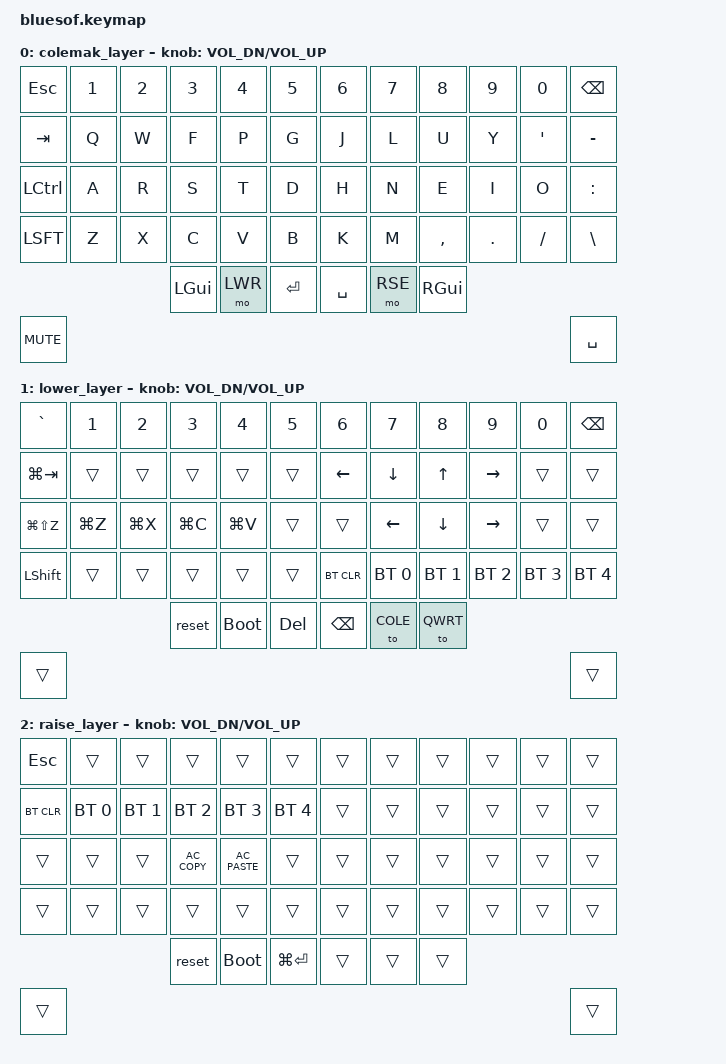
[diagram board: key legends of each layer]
/*
 * Copyright (c) 2020 Eric Lau
 *
 * SPDX-License-Identifier: MIT
 */

#include <behaviors.dtsi>
#include <dt-bindings/zmk/keys.h>
#include <dt-bindings/zmk/bt.h>

#define COLE 0
#define LWR 1
#define RSE 2
#define QWRT 3


/ {
        keymap {
                compatible = "zmk,keymap";


        colemak_layer {
// -----------------------------------------------------------------------------------------
// |  GRAV|  1  |  2  |  3  |  4  |  5  |      |  6  |  7  |  8   |  9  |  O  | BKSP |
// |  TAB |  Q  |  W  |  F  |  P  |  G  |      |  J  |  L   |  U  |  Y  |  '  | BKSP |
// | CTRL |  A  |  R  |  S  |  T  |  D  |      |  H  |  N   |  E  |  I  |  O  |  "   |
// | SHFT |  Z  |  X  |  C  |  V  |  B  |      |  K  |  M   |  ,  |  .  |  /  | SHFT |
//        |  ^  | ALT | GUI | LWR | SPC |      | ENT | RSE  | GUI | ALT |  ^  |
// | LEFT ENCODER |                                                  | RIGHT ENCODER |
                        bindings = <
   &kp ESCAPE &kp NUM_1 &kp NUM_2 &kp NUM_3 &kp NUM_4 &kp NUM_5       &kp NUM_6 &kp NUM_7  &kp NUM_8  &kp NUM_9   &kp NUM_0  &kp BKSP
   &kp TAB    &kp Q     &kp W     &kp F     &kp P     &kp G           &kp J     &kp L      &kp U      &kp Y       &kp SINGLE_QUOTE &kp MINUS
   &kp LCTL   &kp A     &kp R     &kp S     &kp T     &kp D           &kp H     &kp N      &kp E      &kp I       &kp O   &kp COLON
   &kp LSFT   &kp Z     &kp X     &kp C     &kp V     &kp B           &kp K     &kp M      &kp CMMA   &kp DOT     &kp FSLH   &kp BSLH
                                  &kp LGUI  &mo LWR   &kp RET         &kp SPC   &mo RSE    &kp RGUI    
   &kp C_MUTE                                                                                                              &kp SPC
                        >;

			// sensor-bindings = <&inc_dec_kp C_VOL_UP C_VOL_DN &inc_dec_kp PG_UP PG_DN>;
			sensor-bindings = <&inc_dec_kp C_VOL_DN C_VOL_UP>;
                };
                
                lower_layer {
// -----------------------------------------------------------------------------------------
// TODO TODO TODO - Clean up this comment and make better keymap
// |  ESC |  1  |  2  |  3  |  4  |  5  |   |  6  |  7  |  8  |  9  |  0  | BKSP |
// | BTCLR| BT1 | BT2 | BT3 | BT4 | BT5 |   | LFT | DWN |  UP | RGT |     |      |
// | SHFT |     |     |     |     |     |   |     |     |     |     |     |      |
//                    | GUI |     | SPC |   | ENT |     | ALT |
                        bindings = <
   &kp GRAVE     &kp NUM_1    &kp NUM_2    &kp NUM_3    &kp NUM_4        &kp NUM_5         &kp NUM_6 &kp NUM_7 &kp NUM_8 &kp NUM_9 &kp NUM_0 &kp BKSP
   &kp LG(TAB)   &trans       &trans       &trans       &trans           &trans            &kp LEFT  &kp DOWN  &kp UP    &kp RIGHT &trans    &trans
   &kp LG(LS(Z)) &kp LG(Z)    &kp LG(X)    &kp LG(C)    &kp LG(V)        &trans            &trans    &kp LEFT  &kp DOWN  &kp RIGHT &trans    &trans
   &kp LSHFT     &trans       &trans       &trans       &trans           &trans            &bt BT_CLR &bt BT_SEL 0 &bt BT_SEL 1 &bt BT_SEL 2 &bt BT_SEL 3 &bt BT_SEL 4 
                                           &reset       &bootloader      &kp DEL           &kp BKSP  &to COLE  &to QWRT   
   &trans                                                                                                                             &trans
                        >;
                   	
                        // sensor-bindings = <&inc_dec_kp C_VOL_UP C_VOL_DN &inc_dec_kp PG_UP PG_DN>;
			sensor-bindings = <&inc_dec_kp C_VOL_DN C_VOL_UP>;
                };

                raise_layer {
// -----------------------------------------------------------------------------------------
// TODO TODO TODO - Clean up this comment and make better keymap
// |  ESC |  1  |  2  |  3  |  4  |  5  |   |  6  |  7  |  8  |  9  |  0  | BKSP |
// | BTCLR| BT1 | BT2 | BT3 | BT4 | BT5 |   | LFT | DWN |  UP | RGT |     |      |
// | SHFT |     |     |     |     |     |   |     |     |     |     |     |      |
//                    | GUI |     | SPC |   | ENT |     | ALT |
                        bindings = <
   &kp ESC    &trans       &trans       &trans       &trans       &trans              &trans    &trans    &trans    &trans    &trans    &trans
   &bt BT_CLR &bt BT_SEL 0 &bt BT_SEL 1 &bt BT_SEL 2 &bt BT_SEL 3 &bt BT_SEL 4       &trans    &trans    &trans    &trans    &trans    &trans
   &trans     &trans       &trans       &kp C_AC_COPY &kp C_AC_PASTE &trans            &trans    &trans    &trans    &trans    &trans    &trans
   &trans     &trans       &trans       &trans       &trans       &trans               &trans    &trans    &trans    &trans    &trans    &trans
                                        &reset       &bootloader  &kp LG(RET)           &trans    &trans    &trans   
   &trans                                                                                                                             &trans
                        >;
                   	
                        // sensor-bindings = <&inc_dec_kp C_VOL_UP C_VOL_DN &inc_dec_kp PG_UP PG_DN>;
			sensor-bindings = <&inc_dec_kp C_VOL_DN C_VOL_UP>;
                };

//                 qwerty_layer {
// // -----------------------------------------------------------------------------------------
// // |  GRAV|  1  |  2  |  3  |  4  |  5  |      |  6  |  7  |  8   |  9  |  O  | BKSP |
// // |  TAB |  Q  |  W  |  E  |  R  |  T  |      |  Y  |  U   |  I  |  O  |  P  | BKSP |
// // | CTRL |  A  |  S  |  D  |  F  |  G  |      |  H  |  J   |  K  |  L  |  ;  |  '   |
// // | SHFT |  Z  |  X  |  C  |  V  |  B  |      |  N  |  M   |  ,  |  .  |  /  | SHFT |
// //        |  ^  | ALT | GUI | LWR | SPC |      | ENT | RSE  | GUI | ALT |  ^  |
// // | LEFT ENCODER |                                                  | RIGHT ENCODER |

//                         bindings = <
//    &kp GRAV &kp NUM_1 &kp NUM_2 &kp NUM_3 &kp NUM_4 &kp NUM_5       &kp NUM_6 &kp NUM_7  &kp NUM_8  &kp NUM_9   &kp NUM_0  &kp BKSP
//    &kp TAB  &kp Q     &kp W     &kp E     &kp R     &kp T           &kp Y     &kp U      &kp I      &kp O       &kp P      &kp BKSP
//    &kp LCTL &kp A     &kp S     &kp D     &kp F     &kp G           &kp H     &kp J      &kp K      &kp L       &kp SCLN   &kp QUOT
//    &kp LSFT &kp Z     &kp X     &kp C     &kp V     &kp B           &kp N     &kp M      &kp CMMA   &kp DOT     &kp FSLH   &kp RSFT
//             &kp CARET &kp LALT  &kp LGUI  &mo LWR   &kp RET         &kp SPC   &mo RSE    &kp RGUI   &kp RALT    &kp CARET    
//    &kp C_MUTE                                                                                                                  &kp SPC
//                         >;

// 			// sensor-bindings = <&inc_dec_kp C_VOL_UP C_VOL_DN &inc_dec_kp PG_UP PG_DN>;
// 			sensor-bindings = <&inc_dec_kp C_VOL_UP C_VOL_DN>;
//                 };
        };
};
